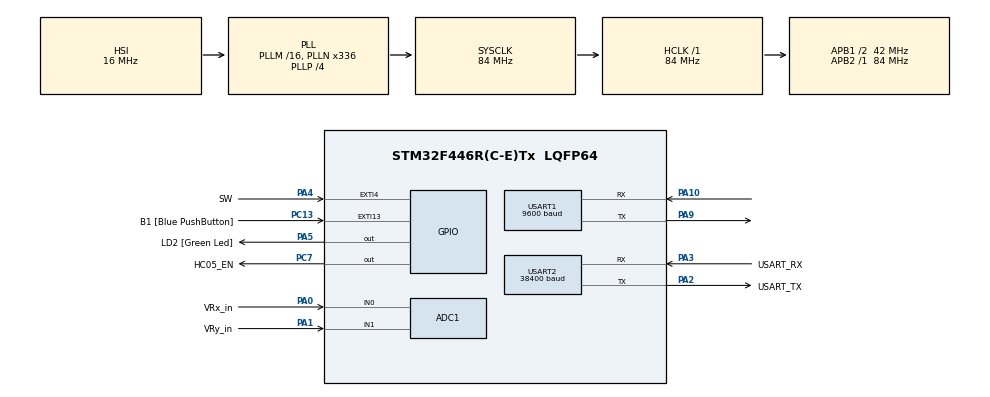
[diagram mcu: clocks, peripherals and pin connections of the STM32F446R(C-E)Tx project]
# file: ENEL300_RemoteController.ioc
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ADC1.Channel-1\#ChannelRegularConversion=ADC_CHANNEL_0
ADC1.Channel-4\#ChannelRegularConversion=ADC_CHANNEL_1
ADC1.NbrOfConversion=2
ADC1.NbrOfConversionFlag=1
ADC1.Rank-1\#ChannelRegularConversion=1
ADC1.Rank-4\#ChannelRegularConversion=2
ADC1.SamplingTime-1\#ChannelRegularConversion=ADC_SAMPLETIME_480CYCLES
ADC1.SamplingTime-4\#ChannelRegularConversion=ADC_SAMPLETIME_480CYCLES
ADC1.ScanConvMode=ENABLE
ADC1.master=1
Mcu.Family=STM32F4
Mcu.Name=STM32F446R(C-E)Tx
Mcu.Package=LQFP64
NVIC.EXTI4_IRQn=true\:0\:0\:false\:false\:true\:true\:true\:true
NVIC.PriorityGroup=NVIC_PRIORITYGROUP_0
PA0-WKUP.GPIO_Label=VRx_in
PA0-WKUP.Signal=ADCx_IN0
PA1.GPIO_Label=VRy_in
PA1.Signal=ADCx_IN1
PA10.Mode=Asynchronous
PA10.Signal=USART1_RX
PA13.GPIO_Label=TMS
PA13.Mode=Serial_Wire
PA13.Signal=SYS_JTMS-SWDIO
PA14.GPIO_Label=TCK
PA14.Mode=Serial_Wire
PA14.Signal=SYS_JTCK-SWCLK
PA2.GPIO_Label=USART_TX
PA2.Mode=Asynchronous
PA2.Signal=USART2_TX
PA3.GPIO_Label=USART_RX
PA3.Mode=Asynchronous
PA3.Signal=USART2_RX
PA4.GPIO_Label=SW
PA4.GPIO_ModeDefaultEXTI=GPIO_MODE_IT_FALLING
PA4.GPIO_PuPd=GPIO_PULLUP
PA4.Signal=GPXTI4
PA5.GPIO_Label=LD2 [Green Led]
PA5.Signal=GPIO_Output
PA9.Mode=Asynchronous
PA9.Signal=USART1_TX
PB3.GPIO_Label=SWO
PB3.Signal=SYS_JTDO-SWO
PC13.GPIO_Label=B1 [Blue PushButton]
PC13.GPIO_ModeDefaultEXTI=GPIO_MODE_IT_FALLING
PC13.Signal=GPXTI13
PC14-OSC32_IN.Mode=LSE-External-Oscillator
PC14-OSC32_IN.Signal=RCC_OSC32_IN
PC15-OSC32_OUT.Mode=LSE-External-Oscillator
PC15-OSC32_OUT.Signal=RCC_OSC32_OUT
PC7.GPIO_Label=HC05_EN
PC7.GPIO_PuPd=GPIO_PULLDOWN
PC7.Signal=GPIO_Output
PH0-OSC_IN.Mode=HSE-External-Oscillator
PH0-OSC_IN.Signal=RCC_OSC_IN
PH1-OSC_OUT.Mode=HSE-External-Oscillator
PH1-OSC_OUT.Signal=RCC_OSC_OUT
ProjectManager.HeapSize=0x200
ProjectManager.StackSize=0x400
ProjectManager.TargetToolchain=STM32CubeIDE
RCC.48MHZClocksFreq_Value=84000000
RCC.AHBFreq_Value=84000000
RCC.APB1CLKDivider=RCC_HCLK_DIV2
RCC.APB1Freq_Value=42000000
RCC.APB1TimFreq_Value=84000000
RCC.APB2Freq_Value=84000000
RCC.APB2TimFreq_Value=84000000
RCC.CortexFreq_Value=84000000
RCC.FLatency-AdvancedSettings=FLASH_LATENCY_2
RCC.HCLKFreq_Value=84000000
RCC.HSE_VALUE=8000000
RCC.HSI_VALUE=16000000
RCC.PLLN=336
RCC.PLLP=RCC_PLLP_DIV4
RCC.SYSCLKFreq_VALUE=84000000
RCC.SYSCLKSource=RCC_SYSCLKSOURCE_PLLCLK
RCC.USBFreq_Value=168000000
RCC.VCOOutputFreq_Value=336000000
SH.ADCx_IN0.0=ADC1_IN0,IN0
SH.ADCx_IN1.0=ADC1_IN1,IN1
USART1.BaudRate=9600
USART1.VirtualMode=VM_ASYNC
USART2.BaudRate=38400
USART2.VirtualMode=VM_ASYNC
board=NUCLEO-F446RE

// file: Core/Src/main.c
/* USER CODE BEGIN Header */
/**
  ******************************************************************************
  * @file           : main.c
  * @brief          : Main program body
  ******************************************************************************
  * @attention
  *
  * Copyright (c) 2026 STMicroelectronics.
  * All rights reserved.
  *
  * This software is licensed under terms that can be found in the LICENSE file
  * in the root directory of this software component.
  * If no LICENSE file comes with this software, it is provided AS-IS.
  *
  ******************************************************************************
  */
/* USER CODE END Header */
#include "main.h"

/* USER CODE BEGIN Includes */
#include <string.h>
#include <stdio.h>
/* USER CODE END Includes */

/* USER CODE BEGIN PTD */
#define CONFIGURE_HC05 0 // 1 = AT mode, 0 = Data mode
#define START_BYTE 0xAA
#define TOGGLE_LED 0xCC

/* USER CODE END PTD */

ADC_HandleTypeDef hadc1;

UART_HandleTypeDef huart1;
UART_HandleTypeDef huart2;

/* USER CODE BEGIN PV */
static int32_t prev_x = 0;
 static int32_t prev_y = 0;
/* USER CODE END PV */

void SystemClock_Config(void);
static void MX_GPIO_Init(void);
static void MX_USART2_UART_Init(void);
static void MX_USART1_UART_Init(void);
static void MX_ADC1_Init(void);

/* USER CODE BEGIN 0 */

void configureHC05(){
	char resp[50] = {0};

	    // 1. Send AT
	    HAL_UART_Transmit(&huart1, (uint8_t*)"AT\r\n", 4, 1000);

	    // 2. Receive exactly 4 bytes (OK\r\n)
	    HAL_StatusTypeDef status = HAL_UART_Receive(&huart1, (uint8_t*)resp, 4, 1000);

	    if (status == HAL_OK) {
	        printf("HC-05 says: %s\r\n", resp);
	        HAL_GPIO_WritePin(GPIOA, GPIO_PIN_5, GPIO_PIN_SET); // LED ON
	    } else if (status == HAL_TIMEOUT) {
	        printf("ERROR: Timeout - No response from module\r\n");
	    } else {
	        printf("ERROR: UART Error Code %d\r\n", status);
	    }

	// set controller as "master"
	char cmd1[] = "AT+ROLE=1\r\n";
	HAL_UART_Transmit(&huart1, (uint8_t*)cmd1, strlen(cmd1), HAL_MAX_DELAY);
	HAL_UART_Receive(&huart1, (uint8_t*)resp, 4, 200);
	printf("Role Response: %s\r\n", resp); // Print the "OK"
	HAL_Delay(500);
	memset(resp, 0, sizeof(resp));

	char cmd_pw[] = "AT+PSWD=\"0902\"\r\n";
	HAL_UART_Transmit(&huart1, (uint8_t*)cmd_pw, strlen(cmd_pw), HAL_MAX_DELAY);
	HAL_UART_Receive(&huart1, (uint8_t*)resp, sizeof(resp), 200);
	printf("Password Response: %s\r\n", resp);
	HAL_Delay(500);
	memset(resp, 0, sizeof(resp));

	char cmd3[] = "AT+CMODE=0\r\n";
	HAL_UART_Transmit(&huart1, (uint8_t*)cmd3, strlen(cmd3), HAL_MAX_DELAY);
	HAL_UART_Receive(&huart1, (uint8_t*)resp, sizeof(resp), 200);
	printf("CMode Response: %s\r\n", resp); // Print the "OK"

	HAL_Delay(500);

	memset(resp, 0, sizeof(resp));

	// set data mode baud rate = 9600
	char cmd4[] = "AT+UART=9600,0,0\r\n";
	HAL_UART_Transmit(&huart1, (uint8_t*)cmd4, strlen(cmd4), HAL_MAX_DELAY);
	HAL_UART_Receive(&huart1, (uint8_t*)resp, sizeof(resp), 200);
	HAL_Delay(500);

	char cmd5[] = "AT+BIND=2025,08,004EBC\r\n";
	    HAL_UART_Transmit(&huart1, (uint8_t*)cmd5, strlen(cmd5), HAL_MAX_DELAY);
	    HAL_UART_Receive(&huart1, (uint8_t*)resp, sizeof(resp), 500);
	    printf("Bind Response: %s\r\n", resp);
	    memset(resp, 0, sizeof(resp));
	    HAL_Delay(500);

}
int32_t abs32(int32_t n) {
    return (n < 0) ? -n : n;
}

void convertInput(uint32_t x_in, uint32_t y_in, uint8_t* cmd) {

    int32_t x = (int32_t)x_in - 2048;
    int32_t y = (int32_t)y_in - 2048;

    x = (x + prev_x) / 2;
    y = (y + prev_y) / 2;

    if (abs32(x) < 150) x = 0;
    if (abs32(y) < 150) y = 0;

    prev_x = x;
    prev_y = y;

    int32_t left  = y - x;
    int32_t right = y + x;

    cmd[0] = (left >= 0) ? 1 : 0;
    cmd[2] = (right >= 0) ? 1 : 0;

    int32_t val_l = abs32(left) >> 3;
    int32_t val_r = abs32(right) >> 3;

    if (val_l > 255) val_l = 255;
    if (val_r > 255) val_r = 255;

    cmd[1] = (uint8_t)val_l;
    cmd[3] = (uint8_t)val_r;

    if (x == 0 && y == 0) {
        cmd[1] = 0;
        cmd[3] = 0;
    }
}
/* USER CODE END 0 */

int main(void)
{

  /* MCU Configuration--------------------------------------------------------*/

  /* Reset of all peripherals, Initializes the Flash interface and the Systick. */
  HAL_Init();

  /* Configure the system clock */
  SystemClock_Config();

  /* Initialize all configured peripherals */
  MX_GPIO_Init();
  MX_USART2_UART_Init();
  MX_USART1_UART_Init();
  MX_ADC1_Init();

  /* Infinite loop */
  /* USER CODE BEGIN WHILE */
  while (1)
  {
# if CONFIGURE_HC05
  HAL_GPIO_WritePin(HC05_EN_GPIO_Port, HC05_EN_Pin, GPIO_PIN_SET);  // set EN HIGH
  configureHC05();

	// important: after running this ONCE, change CONFIGURE_HC05 to 0 and also the baud rate to 9600.
  while (1){} // stop execution so normal controller code doesn't run
#endif
  HAL_GPIO_WritePin(HC05_EN_GPIO_Port, HC05_EN_Pin, GPIO_PIN_RESET);  // set EN LOW
#if 1

	  uint32_t adc_x;
	  uint32_t adc_y;
	  HAL_ADC_Start(&hadc1);

	  HAL_ADC_PollForConversion(&hadc1, HAL_MAX_DELAY);
	  adc_x = HAL_ADC_GetValue(&hadc1);

	  HAL_ADC_PollForConversion(&hadc1, HAL_MAX_DELAY);
	  adc_y = HAL_ADC_GetValue(&hadc1);

	  HAL_ADC_Stop(&hadc1);

	 //printf("X:%lu Y:%lu\r\n", adc_val1, adc_val2);

	  uint8_t cmd[4];
	  convertInput(adc_x, adc_y, cmd);
	  //printf("Raw X: %lu, Raw Y: %lu\r\n", adc_x, adc_y);

	   //uint8_t cmd[4] = {1, 0xFF, 1, 0xFF};

#if 1
        printf("L Dir: %d   ", cmd[0]);
        printf("L Speed: %d   ", cmd[1]);
        printf("R Dir: %d   ", cmd[2]);
        printf("R Speed: %d   ", cmd[3]);

        printf("\r\n");
	    uint8_t start = START_BYTE;
	    HAL_UART_Transmit(&huart1, &start, 1, HAL_MAX_DELAY);
	    for(int i = 0; i < 4; i++){
	        HAL_UART_Transmit(&huart1, &cmd[i], 1, HAL_MAX_DELAY);
	        HAL_Delay(1); // 1 ms delay
	    }
	  HAL_Delay(100);
#endif
#endif

    /* USER CODE END WHILE */

  }
}

void SystemClock_Config(void)
{
  RCC_OscInitTypeDef RCC_OscInitStruct = {0};
  RCC_ClkInitTypeDef RCC_ClkInitStruct = {0};

  /** Configure the main internal regulator output voltage
  */
  __HAL_RCC_PWR_CLK_ENABLE();
  __HAL_PWR_VOLTAGESCALING_CONFIG(PWR_REGULATOR_VOLTAGE_SCALE3);

  /** Initializes the RCC Oscillators according to the specified parameters
  * in the RCC_OscInitTypeDef structure.
  */
  RCC_OscInitStruct.OscillatorType = RCC_OSCILLATORTYPE_HSI;
  RCC_OscInitStruct.HSIState = RCC_HSI_ON;
  RCC_OscInitStruct.HSICalibrationValue = RCC_HSICALIBRATION_DEFAULT;
  RCC_OscInitStruct.PLL.PLLState = RCC_PLL_ON;
  RCC_OscInitStruct.PLL.PLLSource = RCC_PLLSOURCE_HSI;
  RCC_OscInitStruct.PLL.PLLM = 16;
  RCC_OscInitStruct.PLL.PLLN = 336;
  RCC_OscInitStruct.PLL.PLLP = RCC_PLLP_DIV4;
  RCC_OscInitStruct.PLL.PLLQ = 2;
  RCC_OscInitStruct.PLL.PLLR = 2;
  if (HAL_RCC_OscConfig(&RCC_OscInitStruct) != HAL_OK)
  {
    Error_Handler();
  }

  /** Initializes the CPU, AHB and APB buses clocks
  */
  RCC_ClkInitStruct.ClockType = RCC_CLOCKTYPE_HCLK|RCC_CLOCKTYPE_SYSCLK
                              |RCC_CLOCKTYPE_PCLK1|RCC_CLOCKTYPE_PCLK2;
  RCC_ClkInitStruct.SYSCLKSource = RCC_SYSCLKSOURCE_PLLCLK;
  RCC_ClkInitStruct.AHBCLKDivider = RCC_SYSCLK_DIV1;
  RCC_ClkInitStruct.APB1CLKDivider = RCC_HCLK_DIV2;
  RCC_ClkInitStruct.APB2CLKDivider = RCC_HCLK_DIV1;

  if (HAL_RCC_ClockConfig(&RCC_ClkInitStruct, FLASH_LATENCY_2) != HAL_OK)
  {
    Error_Handler();
  }
}

static void MX_ADC1_Init(void)
{

  ADC_ChannelConfTypeDef sConfig = {0};

  /** Configure the global features of the ADC (Clock, Resolution, Data Alignment and number of conversion)
  */
  hadc1.Instance = ADC1;
  hadc1.Init.ClockPrescaler = ADC_CLOCK_SYNC_PCLK_DIV4;
  hadc1.Init.Resolution = ADC_RESOLUTION_12B;
  hadc1.Init.ScanConvMode = ENABLE;
  hadc1.Init.ContinuousConvMode = DISABLE;
  hadc1.Init.DiscontinuousConvMode = DISABLE;
  hadc1.Init.ExternalTrigConvEdge = ADC_EXTERNALTRIGCONVEDGE_NONE;
  hadc1.Init.ExternalTrigConv = ADC_SOFTWARE_START;
  hadc1.Init.DataAlign = ADC_DATAALIGN_RIGHT;
  hadc1.Init.NbrOfConversion = 2;
  hadc1.Init.DMAContinuousRequests = DISABLE;
  hadc1.Init.EOCSelection = ADC_EOC_SINGLE_CONV;
  if (HAL_ADC_Init(&hadc1) != HAL_OK)
  {
    Error_Handler();
  }

  /** Configure for the selected ADC regular channel its corresponding rank in the sequencer and its sample time.
  */
  sConfig.Channel = ADC_CHANNEL_0;
  sConfig.Rank = 1;
  sConfig.SamplingTime = ADC_SAMPLETIME_480CYCLES;
  if (HAL_ADC_ConfigChannel(&hadc1, &sConfig) != HAL_OK)
  {
    Error_Handler();
  }

  /** Configure for the selected ADC regular channel its corresponding rank in the sequencer and its sample time.
  */
  sConfig.Channel = ADC_CHANNEL_1;
  sConfig.Rank = 2;
  if (HAL_ADC_ConfigChannel(&hadc1, &sConfig) != HAL_OK)
  {
    Error_Handler();
  }

}

static void MX_USART1_UART_Init(void)
{

  huart1.Instance = USART1;
  huart1.Init.BaudRate = 9600;
  huart1.Init.WordLength = UART_WORDLENGTH_8B;
  huart1.Init.StopBits = UART_STOPBITS_1;
  huart1.Init.Parity = UART_PARITY_NONE;
  huart1.Init.Mode = UART_MODE_TX_RX;
  huart1.Init.HwFlowCtl = UART_HWCONTROL_NONE;
  huart1.Init.OverSampling = UART_OVERSAMPLING_16;
  if (HAL_UART_Init(&huart1) != HAL_OK)
  {
    Error_Handler();
  }

}

static void MX_USART2_UART_Init(void)
{

  huart2.Instance = USART2;
  huart2.Init.BaudRate = 38400;
  huart2.Init.WordLength = UART_WORDLENGTH_8B;
  huart2.Init.StopBits = UART_STOPBITS_1;
  huart2.Init.Parity = UART_PARITY_NONE;
  huart2.Init.Mode = UART_MODE_TX_RX;
  huart2.Init.HwFlowCtl = UART_HWCONTROL_NONE;
  huart2.Init.OverSampling = UART_OVERSAMPLING_16;
  if (HAL_UART_Init(&huart2) != HAL_OK)
  {
    Error_Handler();
  }

}

static void MX_GPIO_Init(void)
{
  GPIO_InitTypeDef GPIO_InitStruct = {0};

  /* GPIO Ports Clock Enable */
  __HAL_RCC_GPIOC_CLK_ENABLE();
  __HAL_RCC_GPIOH_CLK_ENABLE();
  __HAL_RCC_GPIOA_CLK_ENABLE();
  __HAL_RCC_GPIOB_CLK_ENABLE();

  /*Configure GPIO pin Output Level */
  HAL_GPIO_WritePin(LD2_GPIO_Port, LD2_Pin, GPIO_PIN_RESET);

  /*Configure GPIO pin Output Level */
  HAL_GPIO_WritePin(HC05_EN_GPIO_Port, HC05_EN_Pin, GPIO_PIN_RESET);

  /*Configure GPIO pin : B1_Pin */
  GPIO_InitStruct.Pin = B1_Pin;
  GPIO_InitStruct.Mode = GPIO_MODE_IT_FALLING;
  GPIO_InitStruct.Pull = GPIO_NOPULL;
  HAL_GPIO_Init(B1_GPIO_Port, &GPIO_InitStruct);

  /*Configure GPIO pin : SW_Pin */
  GPIO_InitStruct.Pin = SW_Pin;
  GPIO_InitStruct.Mode = GPIO_MODE_IT_FALLING;
  GPIO_InitStruct.Pull = GPIO_PULLUP;
  HAL_GPIO_Init(SW_GPIO_Port, &GPIO_InitStruct);

  /*Configure GPIO pin : LD2_Pin */
  GPIO_InitStruct.Pin = LD2_Pin;
  GPIO_InitStruct.Mode = GPIO_MODE_OUTPUT_PP;
  GPIO_InitStruct.Pull = GPIO_NOPULL;
  GPIO_InitStruct.Speed = GPIO_SPEED_FREQ_LOW;
  HAL_GPIO_Init(LD2_GPIO_Port, &GPIO_InitStruct);

  /*Configure GPIO pin : HC05_EN_Pin */
  GPIO_InitStruct.Pin = HC05_EN_Pin;
  GPIO_InitStruct.Mode = GPIO_MODE_OUTPUT_PP;
  GPIO_InitStruct.Pull = GPIO_PULLDOWN;
  GPIO_InitStruct.Speed = GPIO_SPEED_FREQ_LOW;
  HAL_GPIO_Init(HC05_EN_GPIO_Port, &GPIO_InitStruct);

  /* EXTI interrupt init*/
  HAL_NVIC_SetPriority(EXTI4_IRQn, 0, 0);
  HAL_NVIC_EnableIRQ(EXTI4_IRQn);

}

/* USER CODE BEGIN 4 */
/* USER CODE BEGIN 4 */
void HAL_GPIO_EXTI_Callback(uint16_t GPIO_Pin)
{
    static uint32_t last_interrupt_time = 0;
    uint32_t current_time = HAL_GetTick();

    if (GPIO_Pin == GPIO_PIN_4)
    {
        if (current_time - last_interrupt_time > 200)
        {
            uint8_t toggle = TOGGLE_LED;
            // Send the toggle command
            HAL_UART_Transmit(&huart1, &toggle, 1, 10);

            HAL_GPIO_TogglePin(LD2_GPIO_Port, LD2_Pin);

            last_interrupt_time = current_time;
        }
    }
}
int __io_putchar(int ch)
{
  HAL_UART_Transmit(&huart2, (uint8_t *)&ch, 1, HAL_MAX_DELAY);
  return ch;
}
/* USER CODE END 4 */

void Error_Handler(void)
{
  __disable_irq();
  while (1)
  {
  }
}
